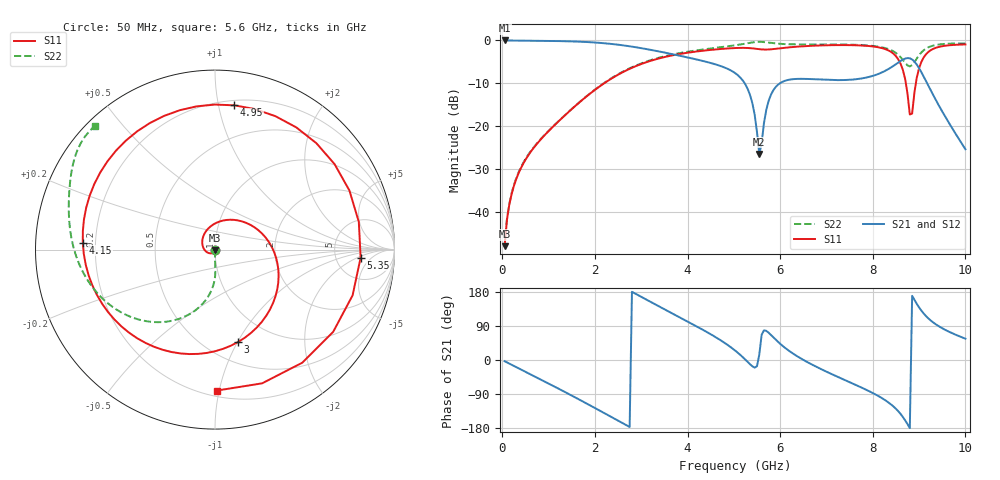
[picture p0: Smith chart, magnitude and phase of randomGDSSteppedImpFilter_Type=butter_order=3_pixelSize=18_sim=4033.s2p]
! freq	dB(S11)	phase(S11)	dB(S12)	phase(S12)
!  dB(S21)	phase(S21)	dB(S22)	phase(S22)
!S-par simulation data
#  GHz  S  DB  R 50
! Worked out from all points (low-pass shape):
!   200 points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, 50 MHz to 10 GHz, reference 50 ohm
!   highest |S21| = -0.01 dB at 50 MHz (marker M1); lowest = -26.5 dB at 5.55 GHz (marker M2)
!   |S21| within 3 dB of the highest: start of sweep to 3.584 GHz
!   lowest |S11| = -48.0 dB at 50 MHz (marker M3), VSWR 1.01, Z = 50 - j0.399 ohm
!   |S11| at or under -10 dB: start of sweep to 2.199 GHz; 8.714 GHz to 8.931 GHz (216.7 MHz wide, 2.46 % of centre)
!   |S22| runs from -47.8 to -0.3 dB; largest |S21 - S12| = 0
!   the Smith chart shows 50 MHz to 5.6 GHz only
!   S11 on the Smith chart (normalised r, x): 50 MHz: 1.00, -0.01; 3 GHz: 0.70, -1.01; 4.15 GHz: 0.15, +0.03; 4.95 GHz: 0.24, +1.11; 5.35 GHz: 9.05, -2.36; 5.6 GHz: 0.24, -0.99
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0.05  -47.99 -89.9  -0.01 -3.1  -0.01 -3.1  -47.84 -83.5
0.2  -35.89 -113.0  -0.02 -12.4  -0.02 -12.4  -35.68 -88.4
0.45  -28.79 -145.7  -0.05 -27.9  -0.05 -27.9  -28.61 -89.9
1.75  -13.68 51.7  -0.33 -110.2  -0.33 -110.2  -13.63 -93.4
2.4  -8.62 -17.8  -0.87 -153.4  -0.87 -153.4  -8.52 -110.2
3  -5.51 -76.0  -1.80 166.7  -1.80 166.7  -5.36 -131.8
3.4  -4.15 -113.0  -2.61 140.5  -2.61 140.5  -3.98 -146.9
4.15  -2.64 176.9  -4.33 91.9  -4.33 91.9  -2.39 -173.6
4.95  -1.82 82.4  -7.09 32.3  -7.09 32.3  -1.27 160.3
5.05  -1.77 65.6  -7.80 22.8  -7.80 22.8  -1.11 157.0
5.35  -1.80 -3.1  -12.74 -11.2  -12.74 -11.2  -0.56 146.0
5.55  -2.05 -70.6  -26.49 14.6  -26.49 14.6  -0.34 136.7
5.6  -2.10 -89.2  -24.03 66.3  -24.03 66.3  -0.35 134.3
5.9  -1.97 174.9  -10.91 54.0  -10.91 54.0  -0.70 122.4
6.25  -1.56 109.3  -9.07 19.2  -9.07 19.2  -0.91 111.5
6.7  -1.24 58.3  -9.04 -12.9  -9.04 -12.9  -0.92 96.9
7.5  -1.10 -3.1  -9.18 -58.5  -9.18 -58.5  -0.98 67.7
8.35  -2.40 -61.7  -6.60 -113.0  -6.60 -113.0  -2.06 29.8
8.65  -6.89 -92.1  -4.48 -150.4  -4.48 -150.4  -4.55 18.4
8.8  -17.28 -75.9  -4.17 -179.8  -4.17 -179.8  -6.06 28.9
9.2  -2.69 -31.2  -10.55 109.8  -10.55 109.8  -1.61 27.2
10  -0.94 -79.7  -25.38 56.2  -25.38 56.2  -0.69 -15.4
